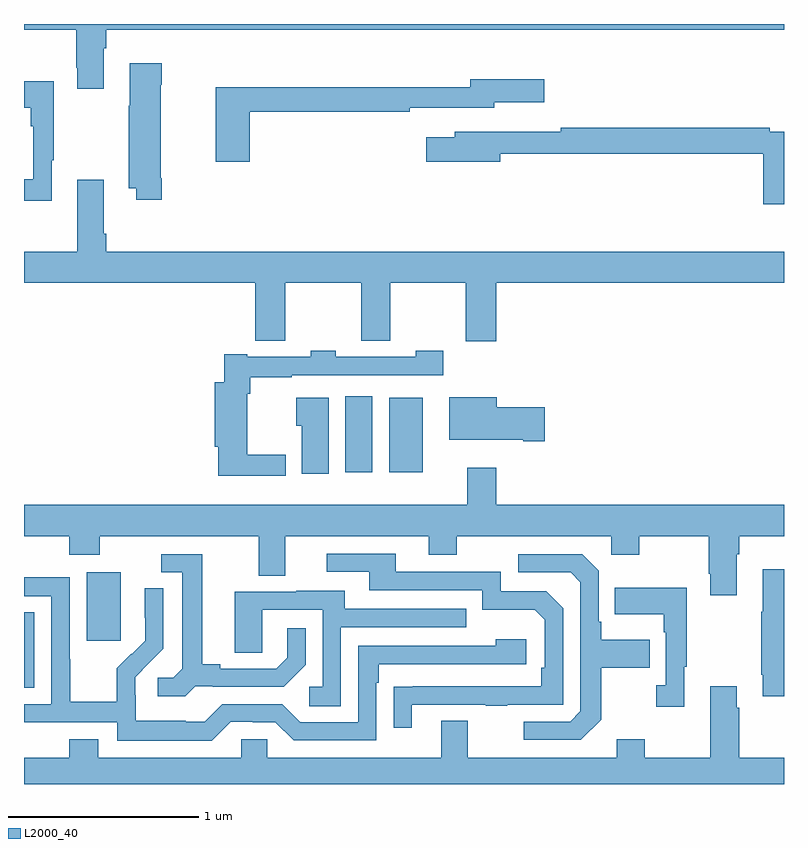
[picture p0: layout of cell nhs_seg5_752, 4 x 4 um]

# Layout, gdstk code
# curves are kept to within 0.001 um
import gdstk
lib = gdstk.Library(unit=1e-6, precision=1e-09)
def R(c, l, rs):  # rectangles x0, y0, x1, y1
    for r in rs: c.add(gdstk.rectangle(r[:2], r[2:], *l))
def P(c, l, *ps):  # polygons
    for p in ps: c.add(gdstk.Polygon(p, *l))
L2000_40 = (2000, 40)

nhs_seg5_752 = lib.new_cell('nhs_seg5_752')
R(nhs_seg5_752, L2000_40, [(159,845.305,159.055,845.702), (159.329,845.553,159.508,845.914), (160.691,846.44,160.834,846.841), (160.922,846.44,161.098,846.832)])
P(nhs_seg5_752, L2000_40, [(159.421,848.672),(159.434,848.672),(159.434,848.768),(163,848.768),(163,848.799),(159,848.799),(159,848.768),(159.274,848.768),(159.274,848.569),(159.281,848.569),(159.281,848.457),(159.421,848.457)],
  [(159.725,847.987),(159.72,847.987),(159.72,848.48),(159.725,848.48),(159.725,848.593),(159.557,848.593),(159.557,848.369),(159.55,848.369),(159.55,847.934),(159.59,847.934),(159.59,847.875),(159.725,847.875)],
  [(160.187,848.338),(161.03,848.338),(161.03,848.358),(161.476,848.358),(161.476,848.387),(161.737,848.387),(161.737,848.509),(161.348,848.509),(161.348,848.467),(160.009,848.467),(160.009,848.073),(160.187,848.073)],
  [(159.145,848.081),(159.157,848.081),(159.157,848.497),(159,848.497),(159,848.357),(159.036,848.357),(159.036,848.261),(159.048,848.261),(159.048,847.982),(159,847.982),(159,847.869),(159.145,847.869)],
  [(163,848.232),(162.926,848.232),(162.926,848.252),(161.824,848.252),(161.824,848.233),(161.267,848.233),(161.267,848.203),(161.118,848.203),(161.118,848.074),(161.506,848.074),(161.506,848.116),(162.89,848.116),(162.89,847.851),(163,847.851)],
  [(161.486,847.436),(163,847.436),(163,847.6),(159.434,847.6),(159.434,847.696),(159.421,847.696),(159.421,847.978),(159.281,847.978),(159.281,847.6),(159,847.6),(159,847.436),(160.217,847.436),(160.217,847.132),(160.376,847.132),(160.376,847.436),(160.774,847.436),(160.774,847.132),(160.928,847.132),(160.928,847.436),(161.326,847.436),(161.326,847.128),(161.486,847.128)],
  [(160.378,846.532),(160.174,846.532),(160.174,846.854),(160.192,846.854),(160.192,846.939),(160.409,846.939),(160.409,846.951),(161.206,846.951),(161.206,847.08),(161.061,847.08),(161.061,847.047),(160.641,847.047),(160.641,847.08),(160.509,847.08),(160.509,847.047),(160.174,847.047),(160.174,847.06),(160.053,847.06),(160.053,846.913),(160.004,846.913),(160.004,846.573),(160.022,846.573),(160.022,846.422),(160.378,846.422)],
  [(161.74,846.782),(161.488,846.782),(161.488,846.835),(161.237,846.835),(161.237,846.611),(161.627,846.611),(161.627,846.604),(161.74,846.604)],
  [(160.603,846.832),(160.433,846.832),(160.433,846.685),(160.463,846.685),(160.463,846.432),(160.603,846.432)],
  [(162.751,846.008),(162.764,846.008),(162.764,846.104),(163,846.104),(163,846.268),(161.486,846.268),(161.486,846.463),(161.333,846.463),(161.333,846.268),(159,846.268),(159,846.104),(159.239,846.104),(159.239,846.005),(159.399,846.005),(159.399,846.104),(160.235,846.104),(160.235,845.896),(160.375,845.896),(160.375,846.104),(161.129,846.104),(161.129,846.005),(161.277,846.005),(161.277,846.104),(162.09,846.104),(162.09,846.005),(162.237,846.005),(162.237,846.104),(162.604,846.104),(162.604,845.905),(162.611,845.905),(162.611,845.793),(162.751,845.793)],
  [(161.041,845.217),(161.431,845.217),(161.431,845.212),(161.543,845.212),(161.543,845.217),(161.838,845.217),(161.838,845.724),(161.748,845.814),(161.508,845.814),(161.508,845.916),(160.957,845.916),(160.957,846.012),(160.593,846.012),(160.593,845.916),(160.817,845.916),(160.817,845.82),(161.412,845.82),(161.412,845.717),(161.689,845.717),(161.742,845.664),(161.742,845.41),(161.722,845.41),(161.722,845.313),(160.945,845.312),(160.945,845.094),(161.041,845.094)],
  [(159.9,845.313),(159.994,845.313),(159.994,845.31),(160.366,845.31),(160.482,845.426),(160.482,845.62),(160.385,845.62),(160.385,845.463),(160.328,845.406),(160.033,845.406),(160.033,845.429),(159.937,845.429),(159.937,846.009),(159.723,846.009),(159.723,845.913),(159.833,845.913),(159.833,845.405),(159.786,845.358),(159.705,845.358),(159.705,845.261),(159.848,845.261)],
  [(162.037,845.137),(162.037,845.41),(162.293,845.41),(162.293,845.557),(162.037,845.557),(162.037,845.653),(162.024,845.653),(162.024,845.922),(161.937,846.009),(161.601,846.009),(161.601,845.913),(161.877,845.913),(161.928,845.862),(161.928,845.181),(161.874,845.127),(161.631,845.127),(161.631,845.031),(161.931,845.031)],
  [(163,845.929),(162.887,845.929),(162.887,845.705),(162.88,845.705),(162.88,845.374),(162.887,845.374),(162.887,845.262),(163,845.262)],
  [(160.089,845.127),(160.205,845.127),(160.205,845.124),(160.323,845.124),(160.419,845.028),(160.854,845.028),(160.854,845.333),(160.867,845.333),(160.867,845.43),(161.644,845.43),(161.644,845.56),(161.483,845.56),(161.483,845.526),(160.758,845.526),(160.758,845.124),(160.455,845.124),(160.359,845.22),(160.044,845.22),(159.951,845.127),(159.851,845.127),(159.851,845.131),(159.588,845.131),(159.588,845.265),(159.586,845.265),(159.586,845.362),(159.732,845.51),(159.732,845.828),(159.636,845.828),(159.636,845.674),(159.638,845.674),(159.638,845.552),(159.567,845.481),(159.564,845.484),(159.487,845.407),(159.487,845.233),(159.243,845.233),(159.243,845.456),(159.24,845.456),(159.24,845.886),(159,845.886),(159,845.787),(159.144,845.787),(159.144,845.22),(159,845.22),(159,845.124),(159.492,845.124),(159.492,845.027),(159.989,845.027)],
  [(162.475,845.417),(162.487,845.417),(162.487,845.833),(162.109,845.833),(162.109,845.693),(162.366,845.693),(162.366,845.597),(162.378,845.597),(162.378,845.318),(162.327,845.318),(162.327,845.205),(162.475,845.205)],
  [(160.668,845.625),(161.327,845.625),(161.327,845.721),(160.687,845.721),(160.687,845.815),(160.433,845.815),(160.433,845.811),(160.109,845.811),(160.109,845.491),(160.254,845.491),(160.254,845.715),(160.572,845.715),(160.572,845.31),(160.5,845.31),(160.5,845.209),(160.668,845.209)],
  [(163,844.936),(162.764,844.936),(162.764,845.201),(162.751,845.201),(162.751,845.314),(162.611,845.314),(162.611,844.936),(162.267,844.936),(162.267,845.035),(162.119,845.035),(162.119,844.936),(161.335,844.936),(161.335,845.131),(161.195,845.131),(161.195,844.936),(160.281,844.936),(160.281,845.034),(160.143,845.034),(160.143,844.936),(159.391,844.936),(159.391,845.035),(159.239,845.035),(159.239,844.936),(159,844.936),(159,844.799),(163,844.799)])

lib.write_gds('nhs_seg5_752.gds')
